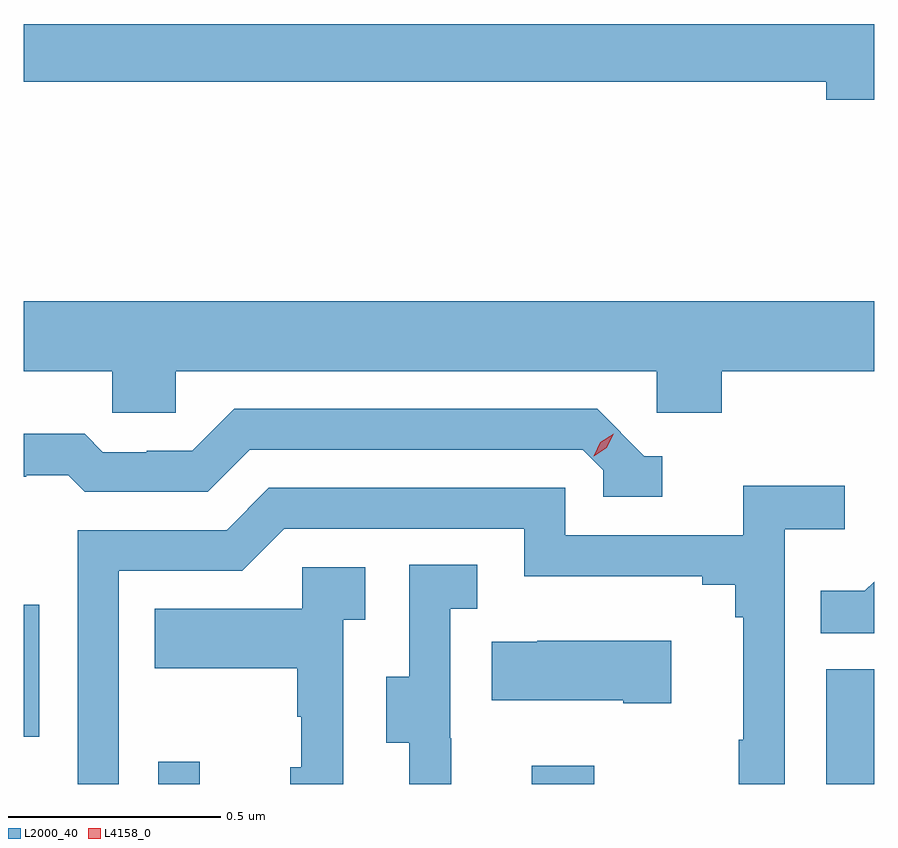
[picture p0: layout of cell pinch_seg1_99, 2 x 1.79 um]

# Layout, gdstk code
import gdstk
lib = gdstk.Library(unit=1e-6, precision=1e-09)
def R(c, l, rs):  # rectangles x0, y0, x1, y1
    for r in rs: c.add(gdstk.rectangle(r[:2], r[2:], *l))
def P(c, l, *ps):  # polygons
    for p in ps: c.add(gdstk.Polygon(p, *l))
L2000_40 = (2000, 40)
L4158_0 = (4158, 0)

pinch_seg1_99 = lib.new_cell('pinch_seg1_99')
R(pinch_seg1_99, L2000_40, [(1070.865,556.089,1070.963,556.141), (1071.743,556.089,1071.891,556.132), (1072.436,556.089,1072.549,556.359), (1070.549,556.2,1070.586,556.51)])
P(pinch_seg1_99, L2000_40, [(1072.549,557.876),(1070.549,557.876),(1070.549,557.74),(1072.436,557.74),(1072.436,557.698),(1072.549,557.698)],
  [(1070.907,557.06),(1072.038,557.06),(1072.038,556.962),(1072.19,556.962),(1072.19,557.06),(1072.549,557.06),(1072.549,557.224),(1070.549,557.224),(1070.549,557.06),(1070.757,557.06),(1070.757,556.962),(1070.907,556.962)],
  [(1072.051,556.86),(1072.008,556.86),(1071.897,556.971),(1071.044,556.971),(1070.945,556.872),(1070.838,556.872),(1070.838,556.869),(1070.735,556.869),(1070.693,556.912),(1070.549,556.912),(1070.549,556.812),(1070.555,556.812),(1070.555,556.815),(1070.654,556.815),(1070.693,556.776),(1070.982,556.776),(1071.081,556.875),(1071.864,556.875),(1071.912,556.827),(1071.912,556.764),(1072.051,556.764)],
  [(1070.772,556.59),(1071.063,556.59),(1071.162,556.689),(1071.726,556.689),(1071.726,556.577),(1072.145,556.577),(1072.145,556.558),(1072.222,556.558),(1072.222,556.481),(1072.241,556.481),(1072.241,556.193),(1072.23,556.193),(1072.23,556.089),(1072.338,556.089),(1072.338,556.688),(1072.48,556.688),(1072.48,556.79),(1072.241,556.79),(1072.241,556.674),(1071.822,556.674),(1071.822,556.785),(1071.125,556.785),(1071.026,556.686),(1070.676,556.686),(1070.676,556.089),(1070.772,556.089)],
  [(1071.554,556.197),(1071.552,556.197),(1071.552,556.501),(1071.616,556.501),(1071.616,556.604),(1071.456,556.604),(1071.456,556.341),(1071.401,556.341),(1071.401,556.186),(1071.455,556.186),(1071.455,556.089),(1071.554,556.089)],
  [(1071.3,556.475),(1071.352,556.475),(1071.352,556.599),(1071.204,556.599),(1071.204,556.501),(1070.857,556.501),(1070.857,556.361),(1071.192,556.361),(1071.192,556.247),(1071.202,556.247),(1071.202,556.128),(1071.176,556.128),(1071.176,556.089),(1071.3,556.089)],
  [(1072.549,556.565),(1072.527,556.543),(1072.423,556.543),(1072.423,556.444),(1072.549,556.444)],
  [(1072.072,556.426),(1071.757,556.426),(1071.757,556.423),(1071.649,556.423),(1071.649,556.286),(1071.959,556.286),(1071.959,556.279),(1072.072,556.279)])
P(pinch_seg1_99, L4158_0, [(1071.889,556.86),(1071.889,556.86),(1071.905,556.893),(1071.936,556.913),(1071.936,556.913),(1071.936,556.912),(1071.92,556.88),(1071.889,556.86)])

lib.write_gds('pinch_seg1_99.gds')
